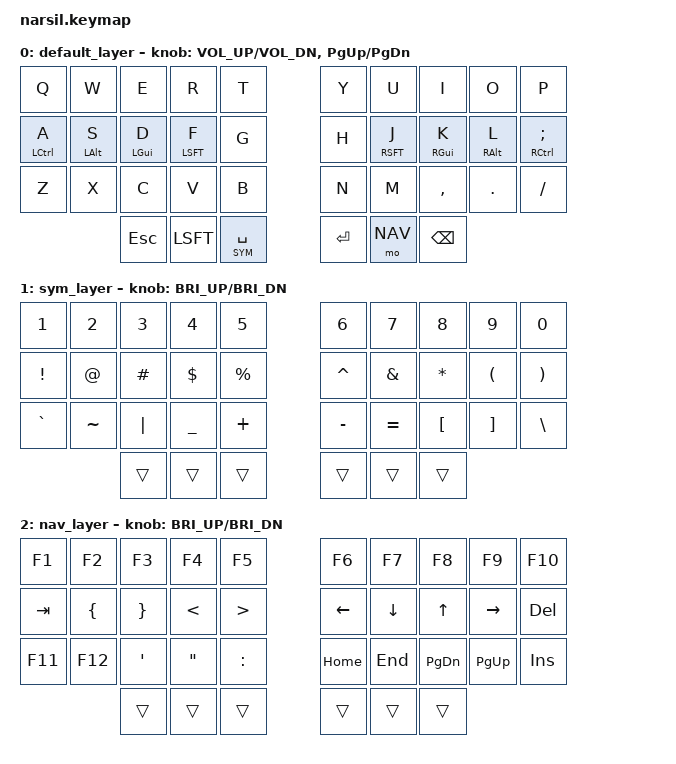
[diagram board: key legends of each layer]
// narsil.keymap - Layout para programador con vim
#include <behaviors.dtsi>
#include <dt-bindings/zmk/keys.h>
#include <dt-bindings/zmk/bt.h>

#define DEF 0
#define SYM 1
#define NAV 2

&mt {
    tapping-term-ms = <200>;
    flavor = "tap-preferred";
};

&lt {
    tapping-term-ms = <200>;
    flavor = "tap-preferred";
};

/ {
    keymap {
        compatible = "zmk,keymap";

        // Capa 0: QWERTY con home row mods
        default_layer {
            bindings = <
        &kp Q       &kp W       &kp E       &kp R       &kp T        &kp Y       &kp U       &kp I       &kp O       &kp P
        &mt LCTL A  &mt LALT S  &mt LGUI D  &mt LSFT F  &kp G        &kp H       &mt RSFT J  &mt RGUI K  &mt RALT L  &mt RCTL SEMI
        &kp Z       &kp X       &kp C       &kp V       &kp B        &kp N       &kp M       &kp COMMA   &kp DOT     &kp FSLH

                                &kp ESC     &kp LSFT    &lt SYM SPC  &kp RET     &mo NAV     &kp BSPC
            >;
            sensor-bindings = <&inc_dec_kp C_VOL_UP C_VOL_DN &inc_dec_kp PG_UP PG_DN>;
        };

        // Capa 1: Numeros y simbolos
        sym_layer {
            bindings = <
        &kp N1      &kp N2      &kp N3      &kp N4      &kp N5       &kp N6      &kp N7      &kp N8      &kp N9      &kp N0
        &kp EXCL    &kp AT      &kp HASH    &kp DLLR    &kp PRCNT    &kp CARET   &kp AMPS    &kp STAR    &kp LPAR    &kp RPAR
        &kp GRAVE   &kp TILDE   &kp PIPE    &kp UNDER   &kp PLUS     &kp MINUS   &kp EQUAL   &kp LBKT    &kp RBKT    &kp BSLH

                                &trans      &trans      &trans       &trans      &trans      &trans
            >;
            sensor-bindings = <&inc_dec_kp C_BRI_UP C_BRI_DN>;
        };

        // Capa 2: Navegacion, F-keys y simbolos de programacion
        nav_layer {
            bindings = <
        &kp F1      &kp F2      &kp F3      &kp F4      &kp F5       &kp F6      &kp F7      &kp F8      &kp F9      &kp F10
        &kp TAB     &kp LBRC    &kp RBRC    &kp LT      &kp GT       &kp LEFT    &kp DOWN    &kp UP      &kp RIGHT   &kp DEL
        &kp F11     &kp F12     &kp SQT     &kp DQT     &kp COLON    &kp HOME    &kp END     &kp PG_DN   &kp PG_UP   &kp INS

                                &trans      &trans      &trans       &trans      &trans      &trans
            >;
            sensor-bindings = <&inc_dec_kp C_BRI_UP C_BRI_DN>;
        };
    };
};
